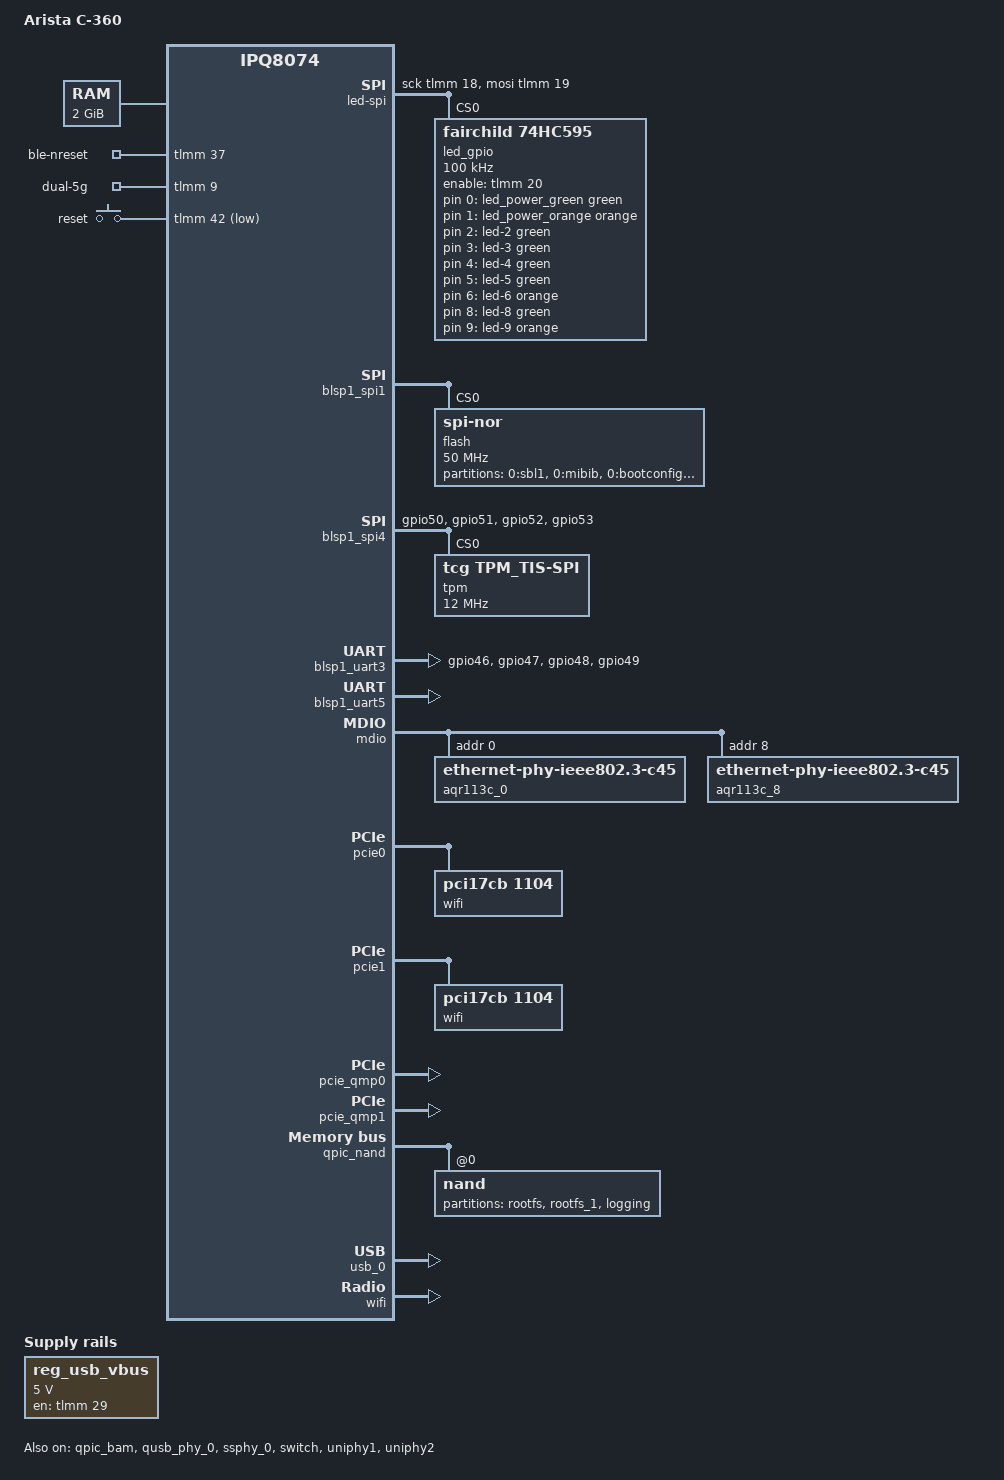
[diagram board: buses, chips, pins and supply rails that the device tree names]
// SPDX-License-Identifier: GPL-2.0-or-later OR MIT

/dts-v1/;

#include "ipq8074.dtsi"
#include "ipq8074-hk-cpu.dtsi"
#include "ipq8074-ess.dtsi"
#include <dt-bindings/gpio/gpio.h>
#include <dt-bindings/input/input.h>
#include <dt-bindings/leds/common.h>

/ {
	model = "Arista C-360";
	compatible = "arista,c-360", "qcom,ipq8074";

	aliases {
		serial0 = &blsp1_uart5;
		serial1 = &blsp1_uart3;
		led-boot = &led_power_orange;
		led-failsafe = &led_power_orange;
		led-running = &led_power_green;
		led-upgrade = &led_power_orange;
		label-mac-device = &port_lan1;
	};

	chosen {
		stdout-path = "serial0:115200n8";
		bootargs-append = " ubi.mtd=rootfs root=/dev/ubiblock0_1";
	};

	memory@40000000 {
		device_type = "memory";
		reg = <0x0 0x40000000 0x0 0x80000000>;
	};

	reg_usb_vbus: regulator-usb-vbus {
		compatible = "regulator-fixed";
		regulator-name = "usb_vbus";
		regulator-min-microvolt = <5000000>;
		regulator-max-microvolt = <5000000>;
		gpios = <&tlmm 29 GPIO_ACTIVE_HIGH>;
		enable-active-high;
	};

	gpio-export {
		compatible = "gpio-export";

		ble-nreset {
			gpio-export,name = "ble-nreset";
			gpio-export,output = <1>;
			gpios = <&tlmm 37 GPIO_ACTIVE_HIGH>;
		};

		/*
		 * the radio plan, as on the vendor firmware: low for 6 GHz (the
		 * IPQ8074 on all of 5 GHz, the pcie0 QCN9074 on 6 GHz), high for
		 * dual 5 GHz (the IPQ8074 on lower 5 GHz, the pcie0 QCN9074 on
		 * upper 5 GHz)
		 */
		dual-5g {
			gpio-export,name = "dual-5g";
			gpio-export,output = <0>;
			gpios = <&tlmm 9 GPIO_ACTIVE_HIGH>;
		};
	};

	keys {
		compatible = "gpio-keys";
		pinctrl-0 = <&button_pins>;
		pinctrl-names = "default";

		reset {
			label = "reset";
			gpios = <&tlmm 42 GPIO_ACTIVE_LOW>;
			linux,code = <KEY_RESTART>;
		};
	};

	led-spi {
		compatible = "spi-gpio";
		#address-cells = <1>;
		#size-cells = <0>;
		sck-gpios = <&tlmm 18 GPIO_ACTIVE_HIGH>;
		mosi-gpios = <&tlmm 19 GPIO_ACTIVE_HIGH>;

		led_gpio: led-gpio@0 {
			compatible = "fairchild,74hc595";
			reg = <0>;
			enable-gpios = <&tlmm 20 GPIO_ACTIVE_HIGH>;
			spi-max-frequency = <100000>;
			gpio-controller;
			#gpio-cells = <2>;
			registers-number = <2>;
		};
	};

	leds {
		compatible = "gpio-leds";

		led_power_green: led-0 {
			color = <LED_COLOR_ID_GREEN>;
			function = LED_FUNCTION_POWER;
			gpios = <&led_gpio 0 GPIO_ACTIVE_HIGH>;
		};

		led_power_orange: led-1 {
			color = <LED_COLOR_ID_ORANGE>;
			function = LED_FUNCTION_POWER;
			gpios = <&led_gpio 1 GPIO_ACTIVE_HIGH>;
		};

		led-2 {
			color = <LED_COLOR_ID_GREEN>;
			function = LED_FUNCTION_WLAN_2GHZ;
			gpios = <&led_gpio 2 GPIO_ACTIVE_HIGH>;
		};

		led-3 {
			color = <LED_COLOR_ID_GREEN>;
			function = LED_FUNCTION_WLAN_5GHZ;
			gpios = <&led_gpio 3 GPIO_ACTIVE_HIGH>;
		};

		led-4 {
			color = <LED_COLOR_ID_GREEN>;
			function = LED_FUNCTION_WLAN_6GHZ;
			gpios = <&led_gpio 4 GPIO_ACTIVE_HIGH>;
		};

		led-5 {
			color = <LED_COLOR_ID_GREEN>;
			function = LED_FUNCTION_LAN;
			function-enumerator = <1>;
			gpios = <&led_gpio 5 GPIO_ACTIVE_HIGH>;
		};

		led-6 {
			color = <LED_COLOR_ID_ORANGE>;
			function = LED_FUNCTION_LAN;
			function-enumerator = <1>;
			gpios = <&led_gpio 6 GPIO_ACTIVE_HIGH>;
		};

		led-8 {
			color = <LED_COLOR_ID_GREEN>;
			function = LED_FUNCTION_LAN;
			function-enumerator = <2>;
			gpios = <&led_gpio 8 GPIO_ACTIVE_HIGH>;
		};

		led-9 {
			color = <LED_COLOR_ID_ORANGE>;
			function = LED_FUNCTION_LAN;
			function-enumerator = <2>;
			gpios = <&led_gpio 9 GPIO_ACTIVE_HIGH>;
		};
	};
};

&blsp1_spi1 {
	status = "okay";

	flash@0 {
		compatible = "jedec,spi-nor";
		reg = <0>;
		spi-max-frequency = <50000000>;

		partitions {
			compatible = "fixed-partitions";
			#address-cells = <1>;
			#size-cells = <1>;

			partition@0 {
				label = "0:sbl1";
				reg = <0x0 0x50000>;
				read-only;
			};

			partition@50000 {
				label = "0:mibib";
				reg = <0x50000 0x10000>;
				read-only;
			};

			partition@60000 {
				label = "0:bootconfig";
				reg = <0x60000 0x20000>;
				read-only;
			};

			partition@80000 {
				label = "0:bootconfig1";
				reg = <0x80000 0x20000>;
				read-only;
			};

			partition@a0000 {
				label = "0:qsee";
				reg = <0xa0000 0x180000>;
				read-only;
			};

			partition@220000 {
				label = "0:qsee_1";
				reg = <0x220000 0x180000>;
				read-only;
			};

			partition@3a0000 {
				label = "0:devcfg";
				reg = <0x3a0000 0x10000>;
				read-only;
			};

			partition@3b0000 {
				label = "0:devcfg_1";
				reg = <0x3b0000 0x10000>;
				read-only;
			};

			partition@3c0000 {
				label = "0:apdp";
				reg = <0x3c0000 0x10000>;
				read-only;
			};

			partition@3d0000 {
				label = "0:apdp_1";
				reg = <0x3d0000 0x10000>;
				read-only;
			};

			partition@3e0000 {
				label = "0:rpm";
				reg = <0x3e0000 0x40000>;
				read-only;
			};

			partition@420000 {
				label = "0:rpm_1";
				reg = <0x420000 0x40000>;
				read-only;
			};

			partition@460000 {
				label = "0:cdt";
				reg = <0x460000 0x10000>;
				read-only;
			};

			partition@470000 {
				label = "0:cdt_1";
				reg = <0x470000 0x10000>;
				read-only;
			};

			partition@480000 {
				label = "0:appsblenv";
				reg = <0x480000 0x10000>;
			};

			partition@490000 {
				label = "0:appsbl";
				reg = <0x490000 0x100000>;
				read-only;
			};

			partition@590000 {
				label = "0:appsbl_1";
				reg = <0x590000 0x100000>;
				read-only;
			};

			partition@690000 {
				label = "0:art";
				reg = <0x690000 0x100000>;
				read-only;

				nvmem-layout {
					compatible = "fixed-layout";
					#address-cells = <1>;
					#size-cells = <1>;

					macaddr_art_0: macaddr@0 {
						reg = <0x0 0x6>;
					};

					macaddr_art_6: macaddr@6 {
						reg = <0x6 0x6>;
					};

					caldata_ipq8074: calibration@1000 {
						reg = <0x1000 0x20000>;
					};

					caldata_pcie0: calibration@26800 {
						reg = <0x26800 0x20000>;
					};

					caldata_pcie1: calibration@4c000 {
						reg = <0x4c000 0x20000>;
					};
				};
			};

			/* the Aquantia PHYs' firmware, which the bootloader loads */
			partition@790000 {
				label = "0:ethphyfw";
				reg = <0x790000 0x80000>;
				read-only;
			};

			partition@810000 {
				label = "0:hlos";
				reg = <0x810000 0x800000>;
				read-only;
			};

			partition@1010000 {
				label = "0:hlos_1";
				reg = <0x1010000 0x800000>;
				read-only;
			};

			partition@1810000 {
				label = "config";
				reg = <0x1810000 0x400000>;
				read-only;
			};

			partition@1c10000 {
				label = "devcert";
				reg = <0x1c10000 0x20000>;
				read-only;
			};

			partition@1c30000 {
				label = "reserved1";
				reg = <0x1c30000 0x20000>;
				read-only;
			};

			partition@1c50000 {
				label = "reserved2";
				reg = <0x1c50000 0x3b0000>;
				read-only;
			};
		};
	};
};

/* Infineon SLB 9670 TPM 2.0 */
&blsp1_spi4 {
	pinctrl-0 = <&tpm_spi_pins>;
	pinctrl-names = "default";
	status = "okay";

	tpm@0 {
		compatible = "tcg,tpm_tis-spi";
		reg = <0>;
		spi-max-frequency = <12000000>;
	};
};

/* the nRF52833 Bluetooth LE controller (HCI over UART, no flow control) */
&blsp1_uart3 {
	pinctrl-0 = <&ble_uart_pins>;
	pinctrl-names = "default";
	status = "okay";
};

&blsp1_uart5 {
	status = "okay";
};

&edma {
	status = "okay";
};

&mdio {
	status = "okay";

	/* Ethernet 2 */
	aqr113c_0: ethernet-phy@0 {
		compatible = "ethernet-phy-ieee802.3-c45";
		reg = <0>;
	};

	/* Ethernet 1 */
	aqr113c_8: ethernet-phy@8 {
		compatible = "ethernet-phy-ieee802.3-c45";
		reg = <8>;
	};
};

&pcie0 {
	status = "okay";
	perst-gpios = <&tlmm 58 GPIO_ACTIVE_LOW>;

	pcie@0 {
		/* QCN9074: the 6 GHz radio */
		wifi@0,0 {
			compatible = "pci17cb,1104";
			reg = <0x00010000 0 0 0 0>;
			/* as the vendor firmware: 16 + 1 interfaces, 512 clients */
			qcom,ath11k-fw-memory-mode = <0>;
			qcom,calibration-variant = "Arista-C360-pcie0";
			nvmem-cells = <&caldata_pcie0>;
			nvmem-cell-names = "calibration";
		};
	};
};

&pcie1 {
	status = "okay";
	perst-gpios = <&tlmm 61 GPIO_ACTIVE_LOW>;

	pcie@0 {
		/* QCN9072, the 2x2 QCN9074: the 2.4/5/6 GHz radio */
		wifi@0,0 {
			compatible = "pci17cb,1104";
			reg = <0x00010000 0 0 0 0>;
			qcom,ath11k-fw-memory-mode = <0>;
			qcom,calibration-variant = "Arista-C360-pcie1";
			nvmem-cells = <&caldata_pcie1>;
			nvmem-cell-names = "calibration";
		};
	};
};

&pcie_qmp0 {
	status = "okay";
};

&pcie_qmp1 {
	status = "okay";
};

&qpic_bam {
	status = "okay";
};

&qpic_nand {
	status = "okay";

	/* absorbs the partitions the bootloader adds at boot */
	partitions {
		status = "disabled";
	};

	nand@0 {
		reg = <0>;
		nand-ecc-strength = <8>;
		nand-ecc-step-size = <512>;
		nand-bus-width = <8>;

		partitions {
			compatible = "fixed-partitions";
			#address-cells = <1>;
			#size-cells = <1>;

			/* the stock firmware's first slot */
			partition@0 {
				label = "rootfs";
				reg = <0x0 0x18000000>;
				linux,rootfs;
			};

			/* the stock firmware's second slot, kept as a fallback */
			partition@18000000 {
				label = "rootfs_1";
				reg = <0x18000000 0x18000000>;
				read-only;
			};

			partition@30000000 {
				label = "logging";
				reg = <0x30000000 0x10000000>;
				read-only;
			};
		};
	};
};

&qusb_phy_0 {
	status = "okay";
	vdd-supply = <&reg_usb_vbus>;
};

&ssphy_0 {
	status = "okay";
};

&switch {
	status = "okay";

	ports {
		#address-cells = <1>;
		#size-cells = <0>;

		port@0 {
			reg = <0>;
			ethernet = <&edma>;
			phy-mode = "internal";

			fixed-link {
				speed = <1000>;
				full-duplex;
			};
		};

		port_lan1: port@5 {
			reg = <5>;
			label = "lan1";
			phy-handle = <&aqr113c_8>;
			phy-mode = "usxgmii";
			managed = "in-band-status";
			pcs-handle = <&uniphy1 0>;
			nvmem-cells = <&macaddr_art_0>;
			nvmem-cell-names = "mac-address";
		};

		port@6 {
			reg = <6>;
			label = "lan2";
			phy-handle = <&aqr113c_0>;
			phy-mode = "usxgmii";
			managed = "in-band-status";
			pcs-handle = <&uniphy2 0>;
			nvmem-cells = <&macaddr_art_6>;
			nvmem-cell-names = "mac-address";
		};
	};
};

&tlmm {
	button_pins: button-state {
		pins = "gpio42";
		function = "gpio";
		drive-strength = <2>;
		bias-pull-up;
	};

	ble_uart_pins: ble-uart-state {
		pins = "gpio46", "gpio47", "gpio48", "gpio49";
		function = "blsp2_uart";
		drive-strength = <8>;
		bias-disable;
	};

	tpm_spi_pins: tpm-spi-state {
		pins = "gpio50", "gpio51", "gpio52", "gpio53";
		function = "blsp3_spi";
		drive-strength = <8>;
		bias-disable;
	};
};

&uniphy1 {
	status = "okay";
};

&uniphy2 {
	status = "okay";
};

&usb_0 {
	status = "okay";
};

&wifi {
	status = "okay";
	qcom,calibration-variant = "Arista-C360";
	nvmem-cells = <&caldata_ipq8074>;
	nvmem-cell-names = "calibration";
};
